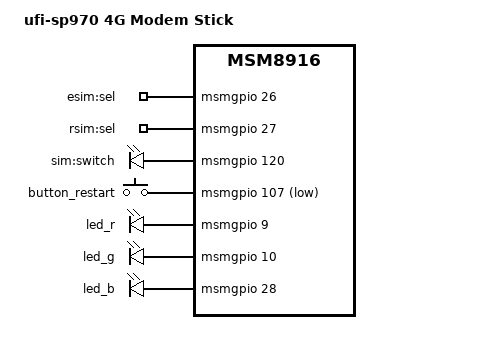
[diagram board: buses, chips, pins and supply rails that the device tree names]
// SPDX-License-Identifier: GPL-2.0-only

/dts-v1/;

#include "msm8916-ufi.dtsi"

/ {
	model = "ufi-sp970 4G Modem Stick";
	compatible = "thwc,sp970", "qcom,msm8916";

	leds: leds {
		esim_sel {
			label = "esim:sel";
			gpios = <&msmgpio 26 GPIO_ACTIVE_HIGH>;
			default-state = "off";
		};

		rsim_sel {
			label = "rsim:sel";
			gpios = <&msmgpio 27 GPIO_ACTIVE_HIGH>;
			default-state = "off";
		};

		sim_switch {
			label = "sim:switch";
			gpios = <&msmgpio 120 GPIO_ACTIVE_HIGH>;
			default-state = "off";
		};
	};
};

&button_restart {
	gpios = <&msmgpio 107 GPIO_ACTIVE_LOW>;
};

&led_r {
	gpios = <&msmgpio 9 GPIO_ACTIVE_HIGH>;
};

&led_g {
	gpios = <&msmgpio 10 GPIO_ACTIVE_HIGH>;
};

&led_b {
	gpios = <&msmgpio 28 GPIO_ACTIVE_HIGH>;
};

/*&mpss {
	pinctrl-0 = <&sim_ctrl_default>;
	pinctrl-names = "default";
};*/

&button_default {
	pins = "gpio107";
	bias-pull-up;
};

&gpio_leds_default {
	pins = "gpio28", "gpio10", "gpio9";
};

/* This selects the external SIM card slot by default */
/*&msmgpio {
	sim_ctrl_default: sim-ctrl-default-state {
		pins = "gpio120", "gpio114";
		function = "gpio";
		drive-strength = <2>;
		bias-disable;

		sim-en-pins {
			label = "sim:en";
			gpios = <&msmgpio 120 GPIO_ACTIVE_HIGH>;
			default-state = "on";
		};

		sim-sel-pins {
			label = "sim:sel";
			gpios = <&msmgpio 114 GPIO_ACTIVE_HIGH>;
			default-state = "off";
		};
	};

	usb_id_default: usb-id-default {
		pins = "gpio110";
		function = "gpio";

		drive-strength = <8>;
		input-enable;
		bias-pull-up;
	};
};*/
